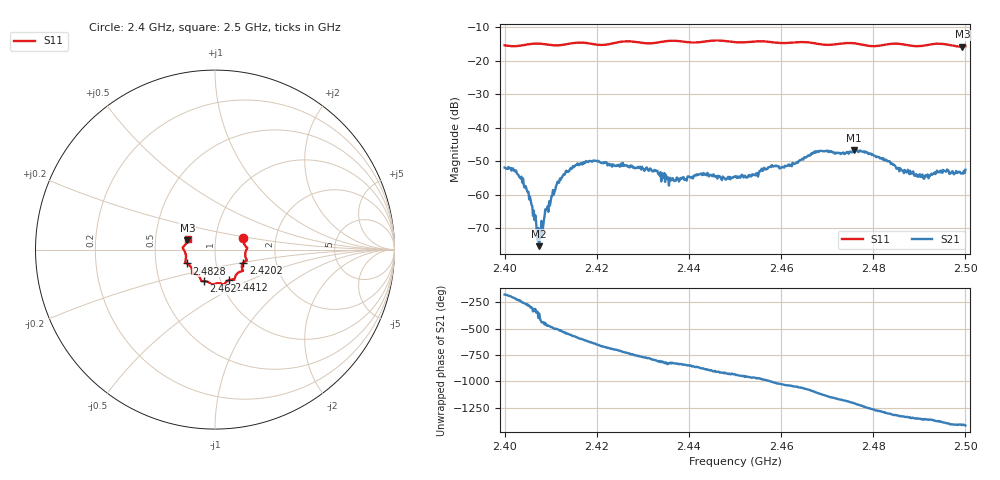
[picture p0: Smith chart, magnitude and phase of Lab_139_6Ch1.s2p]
# Hz S RI R 50
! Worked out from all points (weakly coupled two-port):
!   601 points, 2.4 GHz to 2.5 GHz, reference 50 ohm
!   highest |S21| = -46.78 dB at 2.4758 GHz (marker M1); lowest = -75.4 dB at 2.4075 GHz (marker M2)
!   lowest |S11| = -15.8 dB at 2.4993 GHz (marker M3), VSWR 1.39, Z = 36.5 + j3.9 ohm
!   |S11| at or under -10 dB: start of sweep to end of sweep
!   S12 and S22 are empty: the file has one direction only
!   S11 on the Smith chart (normalised r, x): 2.4 GHz: 1.36, +0.17; 2.4202 GHz: 1.36, -0.20; 2.4412 GHz: 1.09, -0.39; 2.462 GHz: 0.84, -0.30; 2.4828 GHz: 0.72, -0.11; 2.5 GHz: 0.73, +0.09
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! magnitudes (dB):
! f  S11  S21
! 2.4 GHz  -15.4  -51.9
! 2.4022 GHz  -15.7  -52.8
! 2.4042 GHz  -15.3  -57.3
! 2.4055 GHz  -15.0  -60.6
! 2.407 GHz  -14.9  -71.8
! 2.4075 GHz  -14.9  -75.4
! 2.4092 GHz  -15.1  -64.5
! 2.4117 GHz  -15.4  -56.5
! 2.4167 GHz  -14.6  -50.7
! 2.4202 GHz  -15.2  -50.1
! 2.4333 GHz  -14.5  -53.8
! 2.4362 GHz  -14.0  -55.7
! 2.4412 GHz  -14.6  -54.3
! 2.45 GHz  -14.4  -54.7
! 2.462 GHz  -14.6  -51.1
! 2.4667 GHz  -14.6  -47.9
! 2.4758 GHz  -14.8  -46.8
! 2.4828 GHz  -15.1  -49.6
! 2.4833 GHz  -15.0  -50.0
! 2.4907 GHz  -15.5  -54.0
! 2.4993 GHz  -15.8  -53.7
! 2.5 GHz  -15.7  -52.6
